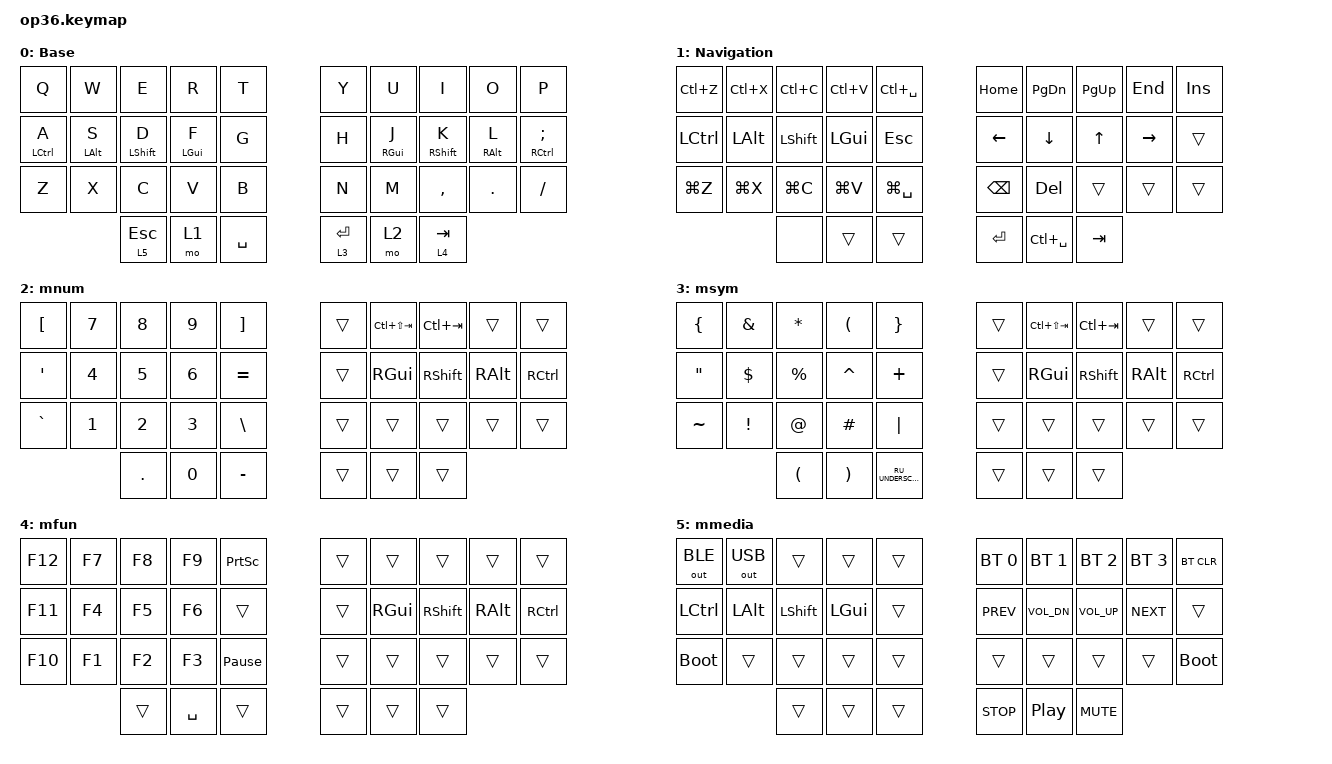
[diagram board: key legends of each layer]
#include "keys_ru.h"
#include <behaviors.dtsi>
#include <dt-bindings/zmk/bt.h>
#include <dt-bindings/zmk/keys.h>
#include <dt-bindings/zmk/outputs.h>

&lt {
    flavor = "hold-preferred";
    tapping-term-ms = <300>;
};

/ {
    combos { compatible = "zmk,combos"; };

    behaviors {
        hml: hml {
            compatible = "zmk,behavior-hold-tap";
            label = "HML";
            bindings = <&kp>, <&kp>;

            #binding-cells = <2>;
            tapping-term-ms = <300>;
            hold-trigger-on-release;
            hold-trigger-key-positions = <5 6 7 8 9 15 16 17 18 19 25 26 27 28 29 34 35 33>;
            require-prior-idle-ms = <150>;
            quick-tap-ms = <175>;
            flavor = "balanced";
        };

        hmr: hmr {
            compatible = "zmk,behavior-hold-tap";
            label = "HMR";
            bindings = <&kp>, <&kp>;

            #binding-cells = <2>;
            hold-trigger-key-positions = <0 1 2 3 4 10 11 12 13 14 20 21 22 23 24 30 31 32>;
            tapping-term-ms = <300>;
            quick-tap-ms = <175>;
            require-prior-idle-ms = <150>;
            flavor = "balanced";
            hold-trigger-on-release;
        };
    };

    keymap {
        compatible = "zmk,keymap";

        mbase {
            display-name = "Base";
            bindings = <
  &kp Q         &kp W            &kp E          &kp R        &kp T                            &kp Y  &kp U        &kp I          &kp O        &kp P
  &hml LCTRL A  &hml LEFT_ALT S  &hml LSHIFT D  &hml LGUI F  &kp G                            &kp H  &hmr RGUI J  &hmr RSHIFT K  &hmr RALT L  &hmr RCTRL SEMI
  &kp Z         &kp X            &kp C          &kp V        &kp B                            &kp N  &kp M        &kp COMMA      &kp DOT      &kp FSLH
                                                &lt 5 ESC    &mo 1  &kp SPACE    &lt 3 ENTER  &mo 2  &lt 4 TAB
            >;
        };

        mnav {
            display-name = "Navigation";
            bindings = <
  &kp LC(Z)  &kp LC(X)  &kp LC(C)  &kp LC(V)  &kp LC(SPACE)                       &kp HOME        &kp PG_DN   &kp PG_UP  &kp END          &kp INS
  &kp LCTRL  &kp LALT   &kp LSHFT  &kp LGUI   &kp ESC                             &kp LEFT_ARROW  &kp DOWN    &kp UP     &kp RIGHT_ARROW  &trans
  &kp LG(Z)  &kp LG(X)  &kp LG(C)  &kp LG(V)  &kp LG(SPACE)                       &kp BACKSPACE   &kp DELETE  &trans     &trans           &trans
                                   &none      &trans         &trans    &kp ENTER  &kp LC(SPACE)   &kp TAB
            >;
        };

        mnum {
            bindings = <
  &kp LBKT   &kp N7  &kp N8  &kp N9   &kp RBKT                        &trans  &kp LC(LS(TAB))  &kp LC(TAB)  &trans    &trans
  &kp SQT    &kp N4  &kp N5  &kp N6   &kp EQUAL                       &trans  &kp RGUI         &kp RSHFT    &kp RALT  &kp RCTRL
  &kp GRAVE  &kp N1  &kp N2  &kp N3   &kp BSLH                        &trans  &trans           &trans       &trans    &trans
                             &kp DOT  &kp N0     &kp MINUS    &trans  &trans  &trans
            >;
        };

        msym {
            bindings = <
  &kp LEFT_BRACE  &kp AMPERSAND  &kp ASTRK    &kp LPAR   &kp RIGHT_BRACE                               &trans  &kp LC(LS(TAB))  &kp LC(TAB)  &trans    &trans
  &kp DQT         &kp DOLLAR     &kp PRCNT    &kp CARET  &kp PLUS                                      &trans  &kp RGUI         &kp RSHFT    &kp RALT  &kp RCTRL
  &kp TILDE       &kp EXCL       &kp AT_SIGN  &kp HASH   &kp PIPE                                      &trans  &trans           &trans       &trans    &trans
                                              &kp LPAR   &kp RPAR         &kp RU_UNDERSCORE    &trans  &trans  &trans
            >;
        };

        mfun {
            bindings = <
  &kp F12  &kp F7  &kp F8  &kp F9  &kp PRINTSCREEN                    &trans  &trans    &trans     &trans    &trans
  &kp F11  &kp F4  &kp F5  &kp F6  &trans                             &trans  &kp RGUI  &kp RSHFT  &kp RALT  &kp RCTRL
  &kp F10  &kp F1  &kp F2  &kp F3  &kp PAUSE_BREAK                    &trans  &trans    &trans     &trans    &trans
                           &trans  &kp SPACE        &trans    &trans  &trans  &trans
            >;
        };

        mmedia {
            bindings = <
  &out OUT_BLE  &out OUT_USB  &trans     &trans    &trans                        &bt BT_SEL 0      &bt BT_SEL 1  &bt BT_SEL 2  &bt BT_SEL 3  &bt BT_CLR
  &kp LCTRL     &kp LALT      &kp LSHFT  &kp LGUI  &trans                        &kp C_PREV        &kp C_VOL_DN  &kp C_VOL_UP  &kp C_NEXT    &trans
  &bootloader   &trans        &trans     &trans    &trans                        &trans            &trans        &trans        &trans        &bootloader
                                         &trans    &trans  &trans    &kp C_STOP  &kp C_PLAY_PAUSE  &kp C_MUTE
            >;
        };
    };
};
